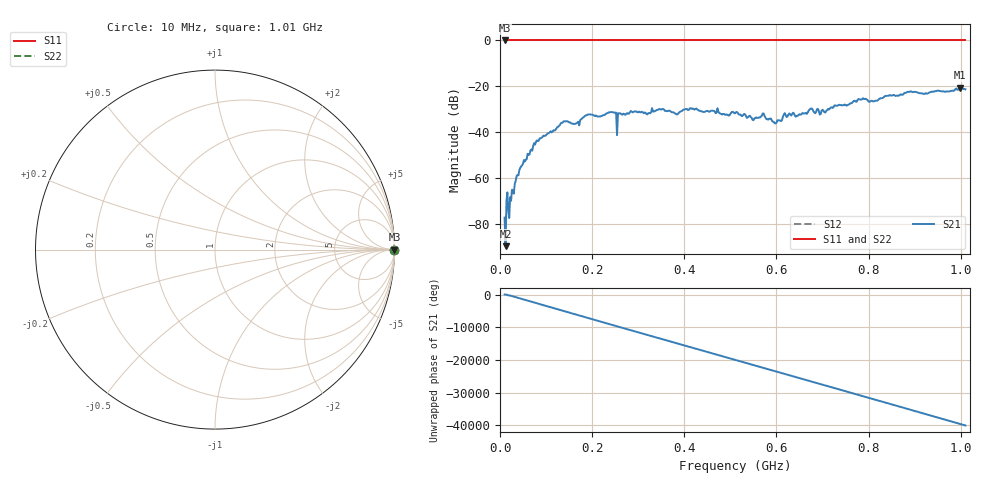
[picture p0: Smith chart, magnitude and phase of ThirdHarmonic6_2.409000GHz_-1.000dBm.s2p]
! 8/17/2025 4:01:50 AM
! C:\ANRITSUVNA\TEMP\TEMP.S2P
! CHANNEL.1
! TR.MEASUREMENT
! RAW.DATA
! RF.CORRECTION.OFF
! AVERAGING.OFF
! IF.BANDWIDTH: 5KHZ
! SWEEPTYPE:  FREQ.SWEEP(Linear)
! Reference Plane Port Info
! PORT:  PORT1  PORT2
! DISTANCE:  0  m  0  m
! TIME:  0  s  0  s
! PHASE.OFFSET:  0  deg.  0  deg.
! LOSS:  0  dB  0  dB
! REF.LOSS:  0  dB  0  dB
! REF.FREQ:  0  Hz  0  Hz
! Power Info
! POWER:  -20  dBm  -20  dBm
! EFF.POWER:  -20  dBm  -20  dBm
! SOURCE.ATTEN:  0  dB  0  dB
! TEST.ATTEN:  0  dB  0  dB
# GHZ S RI R 50.0
! FREQ.GHZ  S11RE  S11IM  S21RE  S21IM  S12RE  S12IM  S22RE  S22IM
!; PortSelection: Port_12
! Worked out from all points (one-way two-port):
!   501 points, 10 MHz to 1.01 GHz, reference 50 ohm
!   highest |S21| = -20.62 dB at 998 MHz (marker M1); lowest = -89.6 dB at 12 MHz (marker M2)
!   lowest |S11| = 0.0 dB at 10 MHz (marker M3)
!   |S11| at or under -10 dB: nowhere
!   |S22| runs from 0.0 to 0.0 dB; largest |S21 - S12| = 1.1
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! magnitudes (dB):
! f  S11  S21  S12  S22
! 10 MHz  0.0  -77.2  0.0  0.0
! 12 MHz  0.0  -89.6  0.0  0.0
! 22 MHz  0.0  -68.3  0.0  0.0
! 40 MHz  0.0  -58.7  0.0  0.0
! 76 MHz  0.0  -45.4  0.0  0.0
! 136 MHz  0.0  -35.8  0.0  0.0
! 168 MHz  0.0  -35.7  0.0  0.0
! 178 MHz  0.0  -34.0  0.0  0.0
! 258 MHz  0.0  -31.8  0.0  0.0
! 344 MHz  0.0  -30.1  0.0  0.0
! 382 MHz  0.0  -32.1  0.0  0.0
! 416 MHz  0.0  -29.8  0.0  0.0
! 510 MHz  0.0  -31.8  0.0  0.0
! 550 MHz  0.0  -34.7  0.0  0.0
! 572 MHz  0.0  -31.8  0.0  0.0
! 596 MHz  0.0  -36.0  0.0  0.0
! 618 MHz  0.0  -31.7  0.0  0.0
! 678 MHz  0.0  -29.9  0.0  0.0
! 706 MHz  0.0  -31.4  0.0  0.0
! 844 MHz  0.0  -24.0  0.0  0.0
! 998 MHz  0.0  -20.6  0.0  0.0
! 1.01 GHz  0.0  -21.3  0.0  0.0
